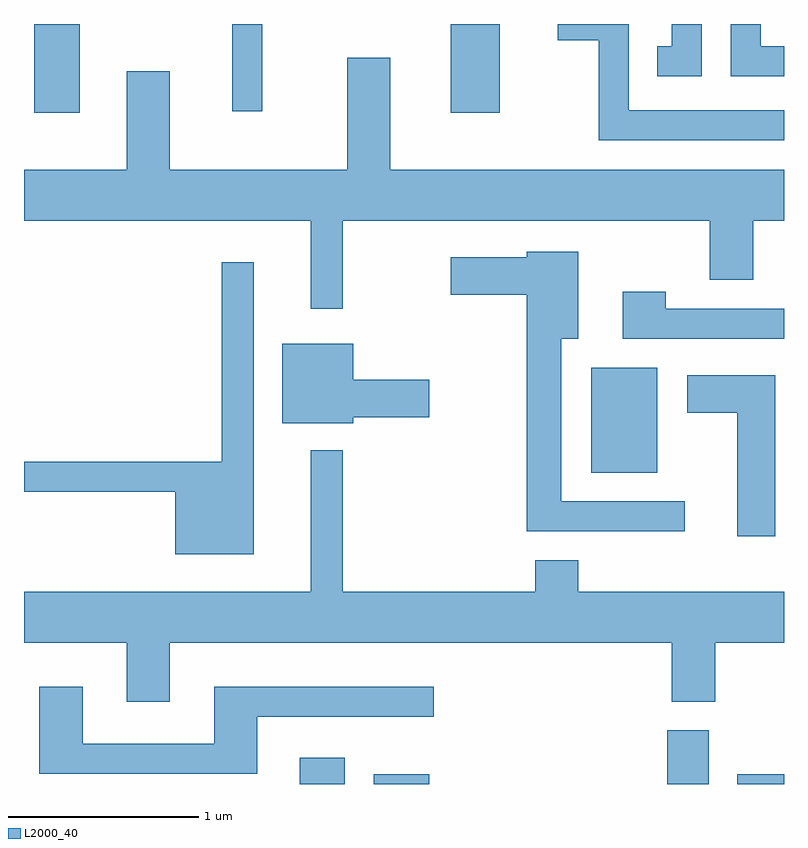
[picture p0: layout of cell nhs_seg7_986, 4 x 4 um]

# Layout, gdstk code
import gdstk
lib = gdstk.Library(unit=1e-6, precision=1e-09)
def R(c, l, rs):  # rectangles x0, y0, x1, y1
    for r in rs: c.add(gdstk.rectangle(r[:2], r[2:], *l))
def P(c, l, *ps):  # polygons
    for p in ps: c.add(gdstk.Polygon(p, *l))
L2000_40 = (2000, 40)

nhs_seg7_986 = lib.new_cell('nhs_seg7_986')
R(nhs_seg7_986, L2000_40, [(217.063,1700.252,217.299,1700.389), (217.451,1700.252,217.744,1700.304), (218.996,1700.252,219.214,1700.534), (219.366,1700.252,219.611,1700.304), (218.596,1701.891,218.944,1702.444), (215.666,1703.786,215.904,1704.252), (217.856,1703.786,218.114,1704.252), (216.706,1703.793,216.864,1704.252)])
P(nhs_seg7_986, L2000_40, [(219.611,1703.799),(218.794,1703.799),(218.794,1704.252),(218.421,1704.252),(218.421,1704.166),(218.636,1704.166),(218.636,1703.641),(219.611,1703.641)],
  [(219.179,1704.252),(219.021,1704.252),(219.021,1704.134),(218.943,1704.134),(218.943,1703.976),(219.179,1703.976)],
  [(219.611,1704.134),(219.489,1704.134),(219.489,1704.252),(219.331,1704.252),(219.331,1703.976),(219.611,1703.976)],
  [(217.289,1703.216),(219.221,1703.216),(219.221,1702.906),(219.449,1702.906),(219.449,1703.216),(219.611,1703.216),(219.611,1703.484),(217.539,1703.484),(217.539,1704.074),(217.311,1704.074),(217.311,1703.484),(216.379,1703.484),(216.379,1704.004),(216.151,1704.004),(216.151,1703.484),(215.611,1703.484),(215.611,1703.216),(217.121,1703.216),(217.121,1702.753),(217.289,1702.753)],
  [(219.088,1701.739),(218.439,1701.739),(218.439,1702.596),(218.529,1702.596),(218.529,1703.054),(218.256,1703.054),(218.256,1703.024),(217.856,1703.024),(217.856,1702.826),(218.256,1702.826),(218.256,1701.581),(219.088,1701.581)],
  [(216.819,1702.998),(216.651,1702.998),(216.651,1701.949),(215.611,1701.949),(215.611,1701.791),(216.406,1701.791),(216.406,1701.461),(216.819,1701.461)],
  [(219.611,1702.754),(218.989,1702.754),(218.989,1702.844),(218.761,1702.844),(218.761,1702.596),(219.611,1702.596)],
  [(217.344,1702.181),(217.744,1702.181),(217.744,1702.379),(217.344,1702.379),(217.344,1702.569),(216.971,1702.569),(216.971,1702.151),(217.344,1702.151)],
  [(219.564,1702.404),(219.101,1702.404),(219.101,1702.206),(219.366,1702.206),(219.366,1701.556),(219.564,1701.556)],
  [(216.379,1700.996),(219.021,1700.996),(219.021,1700.686),(219.249,1700.686),(219.249,1700.996),(219.611,1700.996),(219.611,1701.264),(218.529,1701.264),(218.529,1701.429),(218.301,1701.429),(218.301,1701.264),(217.289,1701.264),(217.289,1702.008),(217.121,1702.008),(217.121,1701.264),(215.611,1701.264),(215.611,1700.996),(216.151,1700.996),(216.151,1700.686),(216.379,1700.686)],
  [(216.839,1700.606),(217.768,1700.606),(217.768,1700.764),(216.611,1700.764),(216.611,1700.464),(215.919,1700.464),(215.919,1700.764),(215.691,1700.764),(215.691,1700.306),(216.839,1700.306)])

lib.write_gds('nhs_seg7_986.gds')
